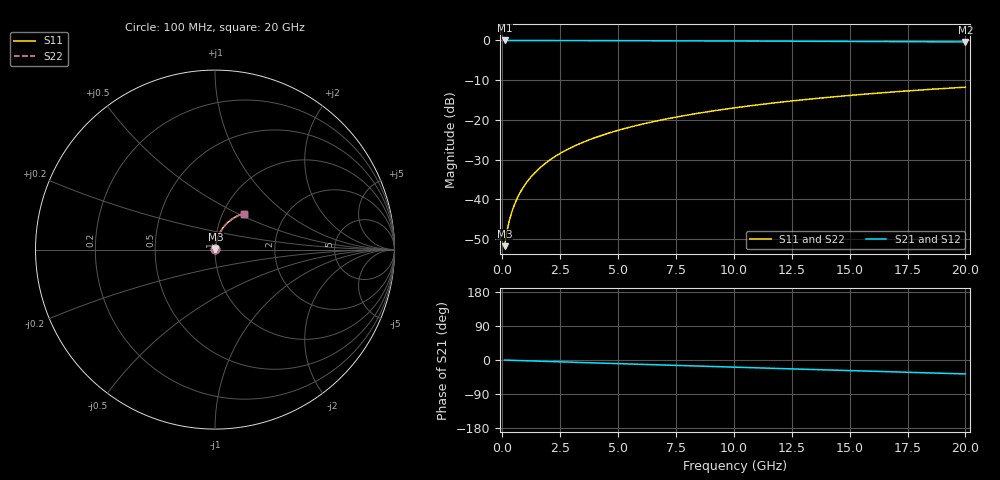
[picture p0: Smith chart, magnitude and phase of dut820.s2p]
! Touchstone file exported from HFSS 2026.1.0
!  File:  C:/ffzhzh/LocalFiles/Ansys_Project_Files/temp_train_TMRDL_820_1783156442_55132.aedt
!  Generated:  05:15:21 PM Jul  4, 2026
!  Design:  TMRDL
!  Project:  temp_train_TMRDL_820_1783156442_55132
! Variables:
!  h_bsmrdl = 2um
!  h_ox = 20um
!  h_rdl = 5um
!  h_sub = 80um
!  h_tmrdl = 4.48um
!  h_tsv = 80um
!  h_via = 3um
!  l_bsmrdl = 300um
!  l_sub = 976.26um
!  l_tmrdl = 576.26um
!  m_sub = 200um
!  pitch = 46.67um
!  r_tsv = 6um
!  s_tmrdl = 10um
!  w_bsmrdl = 18um
!  w_sub = 500um
!  w_tmrdl = 27.69um
!  x_tsv_center1 = 590.105um
!  x_tsv_center2 = 908.105um
!  x_tsv_center3 = 1512.055um
!  x_tsv_center4 = 1830.055um
!  x_tsv_center5 = 2434.005um
!  x_tsv_center6 = 2752.005um
# GHz S MA R 50.000000
! Terminal data exported
! Port[1] = TM_RDL1_1_T1
! Port[2] = TM_RDL1_1_T2
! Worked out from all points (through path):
!   200 points, 100 MHz to 20 GHz, reference 50 ohm
!   highest |S21| = -0.02 dB at 100 MHz (marker M1); lowest = -0.4 dB at 20 GHz (marker M2)
!   group delay of S21, straight-line fit = 5.11 ps
!   lowest |S11| = -51.8 dB at 100 MHz (marker M3), VSWR 1.01, Z = 50.2 + j0.176 ohm
!   |S11| at or under -10 dB: start of sweep to end of sweep
!   |S22| runs from -51.8 to -11.8 dB; largest |S21 - S12| = 3.5e-15
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0.1  0.00258 42.9  0.9981 -0.2  0.9981 -0.2  0.00258 42.9
! Gamma 0 0 0 0
! Port Impedance 50 0 50 0
0.2  0.003955 58.2  0.9979 -0.4  0.9979 -0.4  0.003955 58.2
0.3  0.005364 65.2  0.9978 -0.6  0.9978 -0.6  0.005364 65.2
0.4  0.006784 69.5  0.9977 -0.8  0.9977 -0.8  0.006784 69.5
0.5  0.008221 72.4  0.9976 -1.0  0.9976 -1.0  0.008222 72.4
0.6  0.009676 74.5  0.9976 -1.2  0.9976 -1.2  0.009676 74.5
0.8  0.01262 77.1  0.9974 -1.6  0.9974 -1.6  0.01262 77.1
1.1  0.01709 79.1  0.9973 -2.1  0.9973 -2.1  0.01709 79.1
1.5  0.02307 80.2  0.997 -2.9  0.997 -2.9  0.02307 80.2
1.8  0.02754 80.4  0.9967 -3.5  0.9967 -3.5  0.02754 80.4
2.1  0.03201 80.4  0.9964 -4.1  0.9964 -4.1  0.03201 80.4
2.7  0.04087 80.0  0.9957 -5.2  0.9957 -5.2  0.04087 80.0
3.5  0.05253 79.0  0.9947 -6.8  0.9947 -6.8  0.05253 78.9
4.2  0.06258 77.9  0.9937 -8.1  0.9937 -8.1  0.06258 77.9
5  0.07392 76.6  0.9924 -9.6  0.9924 -9.6  0.07392 76.6
5.9  0.08648 75.1  0.9908 -11.3  0.9908 -11.3  0.08648 75.1
6.8  0.09885 73.6  0.9892 -13.0  0.9892 -13.0  0.09885 73.6
8.3  0.1191 71.1  0.9863 -15.8  0.9863 -15.8  0.1191 71.1
10.1  0.1427 68.0  0.9824 -19.1  0.9824 -19.1  0.1427 68.0
13.4  0.1841 62.4  0.9746 -25.1  0.9746 -25.1  0.1841 62.3
16.7  0.2227 56.7  0.9658 -31.0  0.9658 -31.0  0.2226 56.7
20  0.258 51.1  0.9564 -36.8  0.9564 -36.8  0.258 51.1
